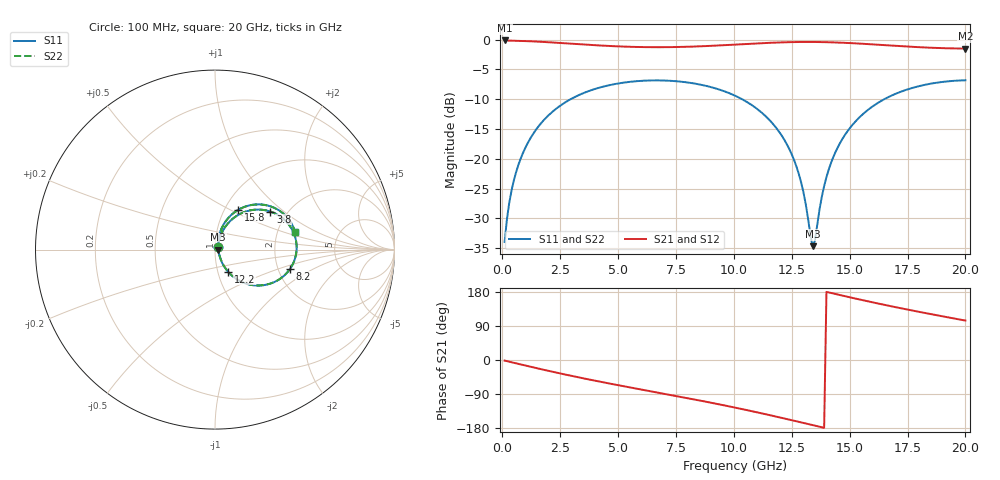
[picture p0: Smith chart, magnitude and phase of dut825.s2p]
! Touchstone file exported from HFSS 2026.1.0
!  File:  C:/ffzhzh/LocalFiles/Ansys_Project_Files/temp_train_TSV_RDL_825_1783265890_5512.aedt
!  Generated:  11:47:25 PM Jul  5, 2026
!  Design:  TSV_RDL
!  Project:  temp_train_TSV_RDL_825_1783265890_5512
! Variables:
!  h_bsmrdl = 4.73um
!  h_ox = 20um
!  h_rdl = 5um
!  h_sub = 51.11um
!  h_tmrdl = 4.31um
!  h_tsv = 51.11um
!  h_via = 3um
!  l_bsmrdl = 464.22um
!  l_sub = 4557um
!  l_tmrdl = 653.84um
!  m_sub = 200um
!  pitch = 48.15um
!  r_tsv = 13.95um
!  s_tmrdl = 10um
!  w_bsmrdl = 27.57um
!  w_sub = 500um
!  w_tmrdl = 22.09um
!  x_tsv_center1 = 664.885um
!  x_tsv_center2 = 1156.675um
!  x_tsv_center3 = 1832.605um
!  x_tsv_center4 = 2324.395um
!  x_tsv_center5 = 3000.325um
!  x_tsv_center6 = 3492.115um
# GHz S MA R 50.000000
! Terminal data exported
! Port[1] = TM_RDL1_1_T1
! Port[2] = TM_RDL5_1_T1
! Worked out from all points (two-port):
!   200 points, 100 MHz to 20 GHz, reference 50 ohm
!   highest |S21| = -0.13 dB at 100 MHz (marker M1); lowest = -1.5 dB at 20 GHz (marker M2)
!   |S21| within 3 dB of the highest: start of sweep to end of sweep
!   lowest |S11| = -34.7 dB at 13.4 GHz (marker M3), VSWR 1.04, Z = 51.9 - j0.0633 ohm
!   |S11| at or under -10 dB: start of sweep to 2.948 GHz; 10.36 GHz to 16.49 GHz (6.135 GHz wide, 45.7 % of centre)
!   |S22| runs from -34.4 to -6.8 dB; largest |S21 - S12| = 1.7e-14
!   S11 on the Smith chart (normalised r, x): 100 MHz: 1.03, +0.03; 3.8 GHz: 1.64, +0.81; 8.2 GHz: 2.32, -0.62; 12.2 GHz: 1.12, -0.28; 15.8 GHz: 1.16, +0.55; 20 GHz: 2.49, +0.63
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0.1  0.02006 42.0  0.9854 -1.5  0.9854 -1.5  0.02006 42.0
! Gamma 0 0 0 0
! Port Impedance 50 0 50 0
0.3  0.04265 62.9  0.9828 -4.5  0.9828 -4.5  0.04265 62.9
0.5  0.06598 67.2  0.9805 -7.4  0.9805 -7.4  0.06598 67.2
1.1  0.1357 65.9  0.9721 -16.1  0.9721 -16.1  0.1357 65.9
2.1  0.242 55.1  0.9497 -30.1  0.9497 -30.1  0.242 55.1
3.5  0.3558 38.1  0.9115 -48.4  0.9115 -48.4  0.3558 38.1
3.8  0.3744 34.5  0.9038 -52.1  0.9038 -52.1  0.3744 34.5
6.8  0.455 0.9  0.8647 -87.0  0.8647 -87.0  0.455 0.9
8.2  0.4316 -14.5  0.8748 -103.1  0.8748 -103.1  0.4316 -14.4
10.1  0.3353 -36.3  0.9108 -126.2  0.9108 -126.2  0.3354 -36.2
11.3  0.2349 -50.3  0.9368 -142.1  0.9368 -142.1  0.2349 -50.2
12.2  0.1422 -59.6  0.9513 -154.6  0.9513 -154.6  0.1423 -59.3
12.9  0.06405 -60.1  0.9569 -164.6  0.9569 -164.6  0.06422 -59.6
13.4  0.01846 -1.9  0.9572 -171.7  0.9572 -171.7  0.01913 -1.5
13.5  0.02044 31.5  0.9568 -173.2  0.9568 -173.2  0.02106 30.8
13.9  0.05905 71.3  0.9541 -178.9  0.9541 -178.9  0.05929 70.7
14.3  0.1039 73.6  0.9494 175.4  0.9494 175.4  0.104 73.3
14.9  0.1694 69.4  0.9392 167.0  0.9392 167.0  0.1696 69.1
15.8  0.2582 59.6  0.9185 154.7  0.9185 154.7  0.2583 59.4
16.7  0.3316 49.1  0.8953 143.0  0.8953 143.0  0.3317 49.0
18.2  0.416 32.1  0.8613 124.7  0.8613 124.7  0.4161 32.1
20  0.4562 12.7  0.8421 104.1  0.8421 104.1  0.4562 12.6
